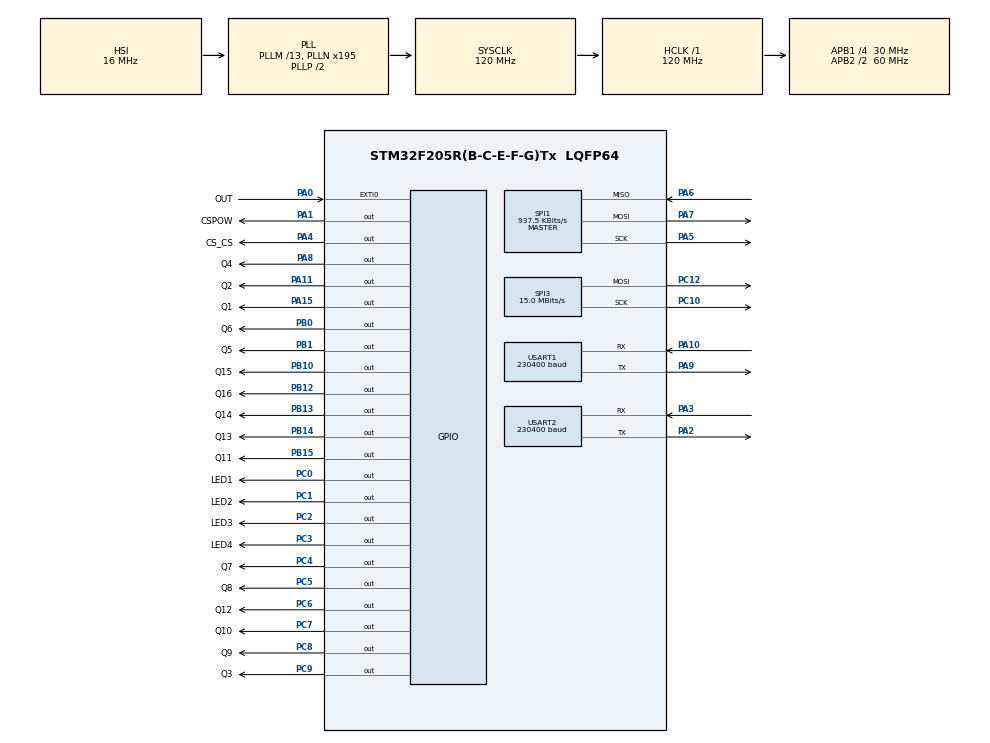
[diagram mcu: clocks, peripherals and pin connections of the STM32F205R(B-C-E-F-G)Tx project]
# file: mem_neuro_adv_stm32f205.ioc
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Mcu.Family=STM32F2
PB10.PinState=GPIO_PIN_SET
PA6.Mode=Full_Duplex_Master
PH0-OSC_IN.Signal=RCC_OSC_IN
RCC.CortexFreq_Value=120000000
SPI3.Direction=SPI_DIRECTION_2LINES
SPI3.VirtualType=VM_MASTER
SPI1.VirtualType=VM_MASTER
USART1.BaudRate=230400
PC10.Signal=SPI3_SCK
PC12.Signal=SPI3_MOSI
PB14.GPIO_Label=Q13
PC6.GPIO_Label=Q12
PC0.GPIO_Label=LED1
VP_RTC_VS_RTC_Activate.Mode=RTC_Enabled
PB0.GPIO_Label=Q6
PB13.GPIO_Label=Q14
PB13.Signal=GPIO_Output
PB15.Signal=GPIO_Output
PB15.PinState=GPIO_PIN_SET
RCC.SYSCLKSource=RCC_SYSCLKSOURCE_PLLCLK
ProjectManager.StackSize=0x400
PC8.PinState=GPIO_PIN_SET
PA15.GPIO_Label=Q1
TIM1.Prescaler=120
PB0.PinState=GPIO_PIN_SET
SPI1.Direction=SPI_DIRECTION_2LINES
RCC.HCLKFreq_Value=120000000
RCC.APB2TimFreq_Value=120000000
PC7.Signal=GPIO_Output
PB12.PinState=GPIO_PIN_SET
SPI1.CalculateBaudRate=937.5 KBits/s
PC3.Signal=GPIO_Output
RCC.AHBFreq_Value=120000000
PH0-OSC_IN.Mode=HSE-External-Oscillator
RCC.HSE_VALUE=16000000
NVIC.TIM8_TRG_COM_TIM14_IRQn=true\:0\:0\:false\:false\:true\:false\:true
PB12.GPIO_Label=Q16
PA6.GPIO_PuPd=GPIO_PULLUP
PC4.GPIO_Label=Q7
PA14.Mode=Serial_Wire
PB1.GPIO_Label=Q5
PC7.PinState=GPIO_PIN_SET
PA8.Signal=GPIO_Output
VP_SYS_VS_tim14.Mode=TIM14
VP_TIM1_VS_ClockSourceINT.Mode=Internal
PB1.PinState=GPIO_PIN_SET
PH1-OSC_OUT.Mode=HSE-External-Oscillator
Mcu.Package=LQFP64
PB1.Signal=GPIO_Output
PA6.Signal=SPI1_MISO
NVIC.TimeBase=TIM8_TRG_COM_TIM14_IRQn
SPI3.Mode=SPI_MODE_MASTER
USART2.VirtualMode=VM_ASYNC
NVIC.TimeBaseIP=TIM14
PA10.Signal=USART1_RX
VP_RTC_VS_RTC_Calendar.Mode=RTC_Calendar
PA15.Signal=GPIO_Output
PA1.PinState=GPIO_PIN_SET
RCC.APB2CLKDivider=RCC_HCLK_DIV2
RCC.APB1TimFreq_Value=60000000
PC5.Signal=GPIO_Output
TIM1.Period=100
NVIC.USART1_IRQn=true\:0\:0\:false\:false\:true\:true\:true
SPI1.BaudRatePrescaler=SPI_BAUDRATEPRESCALER_64
PA4.GPIO_Label=CS_CS
PC2.GPIO_Label=LED3
PA8.PinState=GPIO_PIN_SET
PA3.Signal=USART2_RX
PA5.Mode=Full_Duplex_Master
RCC.VDD_VALUE=2.5
PA7.Mode=Full_Duplex_Master
PA10.Mode=Asynchronous
PC4.PinState=GPIO_PIN_SET
PC9.GPIO_Label=Q3
PC8.Signal=GPIO_Output
PC2.Signal=GPIO_Output
PC4.Signal=GPIO_Output
PC6.Signal=GPIO_Output
PC10.Mode=TX_Only_Simplex_Unidirect_Master
PC9.PinState=GPIO_PIN_SET
PA11.GPIO_Label=Q2
PC0.Signal=GPIO_Output
RCC.APB1CLKDivider=RCC_HCLK_DIV4
USART2.BaudRate=230400
PA0-WKUP.GPIO_Label=OUT
PA0-WKUP.Signal=GPXTI0
PC8.GPIO_Label=Q9
PA3.Mode=Asynchronous
PA13.Signal=SYS_JTMS-SWDIO
TIM1.AutoReloadPreload=TIM_AUTORELOAD_PRELOAD_ENABLE
PA9.Mode=Asynchronous
PA8.GPIO_Label=Q4
PB14.PinState=GPIO_PIN_SET
PA4.PinState=GPIO_PIN_SET
ProjectManager.TargetToolchain=STM32CubeIDE
PB10.GPIO_Label=Q15
PA9.Signal=USART1_TX
RTC.Format=RTC_FORMAT_BIN
RCC.LSE_VALUE=32768
PA1.Signal=GPIO_Output
PB10.Signal=GPIO_Output
PC6.PinState=GPIO_PIN_SET
PB14.Signal=GPIO_Output
PA5.Signal=SPI1_SCK
PC12.Mode=TX_Only_Simplex_Unidirect_Master
board=custom
RCC.VCOOutputFreq_Value=240000000
PA15.PinState=GPIO_PIN_SET
RCC.APB2Freq_Value=60000000
SPI3.CalculateBaudRate=15.0 MBits/s
PB13.PinState=GPIO_PIN_SET
USART1.Mode=MODE_RX
PB15.GPIO_Label=Q11
SPI1.Mode=SPI_MODE_MASTER
PC1.GPIO_Label=LED2
PA1.GPIO_Label=CSPOW
PH1-OSC_OUT.Signal=RCC_OSC_OUT
PA13.Mode=Serial_Wire
Mcu.Name=STM32F205R(B-C-E-F-G)Tx
PA2.Signal=USART2_TX
PC7.GPIO_Label=Q10
RCC.48MHZClocksFreq_Value=60000000
NVIC.EXTI0_IRQn=true\:0\:0\:false\:false\:true\:true\:true
PA4.Signal=GPIO_Output
RCC.SYSCLKFreq_VALUE=120000000
PC5.PinState=GPIO_PIN_SET
PC5.GPIO_Label=Q8
USART1.VirtualMode=VM_ASYNC
PA11.Signal=GPIO_Output
PA14.Signal=SYS_JTCK-SWCLK
ProjectManager.HeapSize=0x200
NVIC.TIM1_UP_TIM10_IRQn=true\:0\:0\:false\:false\:true\:true\:true
RCC.HSI_VALUE=16000000
NVIC.PriorityGroup=NVIC_PRIORITYGROUP_4
RCC.PLLM=13
RCC.PLLN=195
PA2.Mode=Asynchronous
PC3.GPIO_Label=LED4
PC9.Signal=GPIO_Output
PA11.PinState=GPIO_PIN_SET
RCC.APB1Freq_Value=30000000
USART2.Mode=MODE_TX
PB0.Signal=GPIO_Output
PC1.Signal=GPIO_Output
PB12.Signal=GPIO_Output
PA7.Signal=SPI1_MOSI

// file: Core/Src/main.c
/* USER CODE BEGIN Header */
/**
  ******************************************************************************
  * @file           : main.c
  * @brief          : Main program body
  ******************************************************************************
  * @attention
  *
  * <h2><center>&copy; Copyright (c) 2021 STMicroelectronics.
  * All rights reserved.</center></h2>
  *
  * This software component is licensed by ST under BSD 3-Clause license,
  * the "License"; You may not use this file except in compliance with the
  * License. You may obtain a copy of the License at:
  *                        opensource.org/licenses/BSD-3-Clause
  *
  ******************************************************************************
  */
/* USER CODE END Header */
#include "main.h"

/* USER CODE BEGIN Includes */
#include <time.h>
#include <string.h>
/* USER CODE END Includes */

RTC_HandleTypeDef hrtc;

SPI_HandleTypeDef hspi1;
SPI_HandleTypeDef hspi3;

TIM_HandleTypeDef htim1;

UART_HandleTypeDef huart1;
UART_HandleTypeDef huart2;

/* USER CODE BEGIN PV */
uint8_t flags=0;
//total boards in chain
uint8_t board_cnt=3;
//current board number
uint8_t board_num=1;
//last spike time
int32_t last_spike=0;
//width of spike storage
uint8_t spike_wid=0;
uint8_t spike_wid_rst=0;
//if channel is excitatory
//bitwise info - all channels are excitatory
uint8_t ex_channels = 0x1F;
//GPIO info for each channel;
//signal level is Apin-Bpin
uint16_t Apin[8]={Q2_Pin,Q4_Pin,Q6_Pin,Q8_Pin,Q10_Pin,Q12_Pin,Q14_Pin,Q16_Pin};
uint16_t Bpin[8]={Q1_Pin,Q3_Pin,Q5_Pin,Q7_Pin,Q9_Pin,Q11_Pin,Q13_Pin,Q15_Pin};
GPIO_TypeDef* Aport[8]={Q2_GPIO_Port,Q4_GPIO_Port,Q6_GPIO_Port,Q8_GPIO_Port,Q10_GPIO_Port,Q12_GPIO_Port,Q14_GPIO_Port,Q16_GPIO_Port};
GPIO_TypeDef* Bport[8]={Q1_GPIO_Port,Q3_GPIO_Port,Q5_GPIO_Port,Q7_GPIO_Port,Q9_GPIO_Port,Q11_GPIO_Port,Q13_GPIO_Port,Q15_GPIO_Port};
//weight collection
int32_t last_spike_time[8]={0,0,0,0,0,0,0,0};
uint16_t weights[8]={100,200,400,400,500,700,800,900};
/* USER CODE END PV */

void SystemClock_Config(void);
static void MX_GPIO_Init(void);
static void MX_RTC_Init(void);
static void MX_SPI1_Init(void);
static void MX_USART1_UART_Init(void);
static void MX_USART2_UART_Init(void);
static void MX_SPI3_Init(void);
static void MX_TIM1_Init(void);
/* USER CODE BEGIN PFP */
void HAL_GPIO_EXTI_Callback(uint16_t GPIO_Pin)
{
  if(GPIO_Pin== GPIO_PIN_0) {
	  SET_BITN(flags,0);
  }
}
void HAL_UART_RxCpltCallback(UART_HandleTypeDef *huart){
	SET_BITN(flags,2);
}
void set_cmd(uint8_t num,uint8_t cmd,uint16_t val){
	uint8_t cs_data[1];
	cs_data[0]=~(1<<num);

	uint8_t res_data_rx[2];
	uint8_t res_data_tx[2];

	//read datasheet carefully
	//00 0001 00000 00000
	//0000 0100 0000 0000
	res_data_tx[0]=(cmd<<2)|(val>>8);
	res_data_tx[1]=val&0XFF;

	HAL_GPIO_WritePin(CS_CS_GPIO_Port, CS_CS_Pin, GPIO_PIN_RESET);
	HAL_SPI_Transmit(&hspi3, cs_data, 1, 1000);
	HAL_GPIO_WritePin(CS_CS_GPIO_Port, CS_CS_Pin, GPIO_PIN_SET);

	HAL_SPI_TransmitReceive(&hspi1, res_data_tx,res_data_rx, 2, 1000);

	cs_data[0]=0xFF;
	HAL_GPIO_WritePin(CS_CS_GPIO_Port, CS_CS_Pin, GPIO_PIN_RESET);
	HAL_SPI_Transmit(&hspi3, cs_data, 1, 1000);
	HAL_GPIO_WritePin(CS_CS_GPIO_Port, CS_CS_Pin, GPIO_PIN_SET);
}
void set_res(uint8_t num,uint16_t val){
	set_cmd(num,1,val);
}
void Hebb_weight_update(uint8_t last_spiked){
	//do some wired math
	//TODO:remake weight
	//use last spike times to do some magic
	uint8_t i=0;
	for(i=0;i<8;i++){
		if (weights[i]>0x03FF){
			weights[i]=0x03FF;
		}
	}
	uint8_t ls_tmp=last_spiked;
	uint8_t cs_data[1];
	uint8_t res_data_tx[2];
	uint8_t res_data_rx[2];
	cs_data[0]=~1;
	while(ls_tmp>0){
		//if this input spiked
		if((ls_tmp&0x01)==1){
			//CS for resistor
			HAL_GPIO_WritePin(CS_CS_GPIO_Port, CS_CS_Pin, GPIO_PIN_RESET);
			HAL_SPI_Transmit(&hspi3, cs_data, 1, 1000);
			HAL_GPIO_WritePin(CS_CS_GPIO_Port, CS_CS_Pin, GPIO_PIN_SET);

			//read datasheet carefully
			//0000 0101 0000 0000
			res_data_tx[0]=0x04|(weights[i]>>8);
			res_data_tx[1]=weights[i]&0xFF;
			HAL_SPI_TransmitReceive(&hspi1, res_data_tx,res_data_rx, 2, 1000);

			cs_data[0]=0xFF;
			HAL_GPIO_WritePin(CS_CS_GPIO_Port, CS_CS_Pin, GPIO_PIN_RESET);
			HAL_SPI_Transmit(&hspi3, cs_data, 1, 1000);
			HAL_GPIO_WritePin(CS_CS_GPIO_Port, CS_CS_Pin, GPIO_PIN_SET);
		}
		else{
			last_spike_time[i]+=last_spike;
			//no need for big times since hebb will be zero anyways
			if(last_spike_time[i]>10000){
				last_spike_time[i]=10000;
			}
		}
		cs_data[0]=~(1<<i);
		ls_tmp>>=1;
		i++;
	}

}
/* USER CODE END PFP */

int main(void)
{

  /* MCU Configuration--------------------------------------------------------*/

  /* Reset of all peripherals, Initializes the Flash interface and the Systick. */
  HAL_Init();

  /* Configure the system clock */
  SystemClock_Config();

  /* Initialize all configured peripherals */
  MX_GPIO_Init();
  MX_RTC_Init();
  MX_SPI1_Init();
  MX_USART1_UART_Init();
  MX_USART2_UART_Init();
  MX_SPI3_Init();
  MX_TIM1_Init();
  /* USER CODE BEGIN 2 */
  HAL_Delay(1000);
  /* USER CODE END 2 */

  /* Infinite loop */
  /* USER CODE BEGIN WHILE */

  //enable O1 and O2
  //0011 0001 0000 0000 0000 0000
  uint8_t data1[3]={0x31,0x00,0x03};
  uint8_t data2[3];
//  HAL_GPIO_WritePin(CSPOW_GPIO_Port, CSPOW_Pin, GPIO_PIN_RESET);
//  HAL_SPI_TransmitReceive(&hspi1, data1,data2, 3, 1000);
//  HAL_GPIO_WritePin(CSPOW_GPIO_Port, CSPOW_Pin, GPIO_PIN_SET);
//  HAL_Delay(1);

  //set trigger level once, never touch again and change mode for weight update
  data1[0]=0xB0;
  data1[1]=0x01;
  data1[2]=0xA0;
  HAL_GPIO_WritePin(CSPOW_GPIO_Port, CSPOW_Pin, GPIO_PIN_RESET);
  HAL_SPI_TransmitReceive(&hspi1, data1,data2, 3, 1000);
  HAL_GPIO_WritePin(CSPOW_GPIO_Port, CSPOW_Pin, GPIO_PIN_SET);
  //change mode for resistor
  hspi1.Init.CLKPhase = SPI_PHASE_2EDGE;
  if (HAL_SPI_Init(&hspi1) != HAL_OK){
	  Error_Handler();
  }
  uint8_t i=0;
  for(i=0;i<8;i++){
	  set_cmd(i, 7, 2);
	  set_res(i,weights[i]);
  }
  HAL_GPIO_WritePin(GPIOC, LED1_Pin|LED2_Pin|LED3_Pin|LED4_Pin, GPIO_PIN_RESET);

  HAL_TIM_Base_Start_IT(&htim1);
  uint8_t rx_data[board_cnt];
  uint8_t tx_data[board_cnt];
  uint8_t data_tmp=0;
  uint8_t ext_info_tmp=0;
  for(i=0;i<board_cnt;i++){
	  tx_data[i]=0;
	  rx_data[i]=0;
  }
//  if (board_num==0){
//	  tx_data[0]=0x55;
//	  tx_data[1]=0xAA;
//	  tx_data[2]=0xF5;
//  	  HAL_UART_Transmit_DMA(&huart2, tx_data, board_cnt);
//  }
  uint16_t delay=201;
  HAL_StatusTypeDef status;
  while (1)
  {
//	  HAL_GPIO_TogglePin(GPIOC, LED1_Pin);
	  status=HAL_UART_Receive(&huart1,  rx_data, board_cnt,100000);

	  //UART msg received
	  if(status!=HAL_TIMEOUT){
		  HAL_GPIO_TogglePin(GPIOC, LED4_Pin);
		  data_tmp=rx_data[board_num];
		  //copy info about input types
		  ext_info_tmp=ex_channels;
		  i=0;
		  while(data_tmp>0){
			  if((data_tmp&0x01)==1){
				  if((ext_info_tmp&0x01)==1){
					  //if is exitatory pull down b port
					  HAL_GPIO_WritePin(Bport[i], Bpin[i], GPIO_PIN_RESET);
				  }
				  else{
					  //if is inhibitory pull down a port
					  HAL_GPIO_WritePin(Aport[i], Apin[i], GPIO_PIN_RESET);
				  }
				  spike_wid=0;
				  spike_wid_rst=1;
			  }
			  i++;
			  ext_info_tmp>>=1;
			  data_tmp>>=1;
		  }

		  while(spike_wid<30){}
		  for(i=0;i<8;i++){
			  HAL_GPIO_WritePin(Aport[i], Apin[i], GPIO_PIN_SET);
		  	  HAL_GPIO_WritePin(Bport[i], Bpin[i], GPIO_PIN_SET);
		  }
		  //output signal generated
		  if(READ_BITN(flags,0)==1){
			  RESET_BITN(flags,0);
			  HAL_GPIO_TogglePin(GPIOC, LED2_Pin);
			  //need to update weight according to wired math and what spiked last time
			  //Hebb_weight_update(rx_data[board_num]);
			  tx_data[0]=rx_data[1]^0x1B;
			  tx_data[1]=0;
			  tx_data[2]=rx_data[2];
			  i=0;
			  data_tmp=rx_data[board_num];
			  while(data_tmp>0){
				  if((data_tmp&0x01)==1){
					  if(weights[i]>5){
						  weights[i]-=5;
					  }
					  set_res(i,weights[i]);
				  }
				  i++;
				  data_tmp>>=1;
			  }
//			  for(i=0;i<5;i++){
//				  weights[i]+=100;
////				  weights[i]+=i;
//				  if (weights[i]>1023){
//					  weights[i]=1023;
//				  }
//				  set_res(i,weights[i]);
//			  }
//			  if (delay>100){
//				  delay-=100;
//			  }
			  //change last spike time to negative value for emulating refactory period
			  last_spike=-100;
			  if (delay>10){
				  delay-=10;
			  }
		  }
		  else{
			  tx_data[0]=rx_data[1]^0x1B;
			  tx_data[1]=0;
			  tx_data[2]=rx_data[2];
			  if (delay<10000){
				  delay+=10;
			  }
		  }
		  HAL_Delay(delay);
		  HAL_UART_Transmit(&huart2, tx_data, board_cnt,1000);
		  for(i=0;i<board_cnt;i++){
		  	  tx_data[i]=0;
		  	  rx_data[i]=0;
		  }
	  }
    /* USER CODE END WHILE */

  }
}

void SystemClock_Config(void)
{
  RCC_OscInitTypeDef RCC_OscInitStruct = {0};
  RCC_ClkInitTypeDef RCC_ClkInitStruct = {0};
  RCC_PeriphCLKInitTypeDef PeriphClkInitStruct = {0};

  /** Initializes the RCC Oscillators according to the specified parameters
  * in the RCC_OscInitTypeDef structure.
  */
  RCC_OscInitStruct.OscillatorType = RCC_OSCILLATORTYPE_HSI|RCC_OSCILLATORTYPE_LSI;
  RCC_OscInitStruct.HSIState = RCC_HSI_ON;
  RCC_OscInitStruct.HSICalibrationValue = RCC_HSICALIBRATION_DEFAULT;
  RCC_OscInitStruct.LSIState = RCC_LSI_ON;
  RCC_OscInitStruct.PLL.PLLState = RCC_PLL_ON;
  RCC_OscInitStruct.PLL.PLLSource = RCC_PLLSOURCE_HSI;
  RCC_OscInitStruct.PLL.PLLM = 13;
  RCC_OscInitStruct.PLL.PLLN = 195;
  RCC_OscInitStruct.PLL.PLLP = RCC_PLLP_DIV2;
  RCC_OscInitStruct.PLL.PLLQ = 4;
  if (HAL_RCC_OscConfig(&RCC_OscInitStruct) != HAL_OK)
  {
    Error_Handler();
  }
  /** Initializes the CPU, AHB and APB buses clocks
  */
  RCC_ClkInitStruct.ClockType = RCC_CLOCKTYPE_HCLK|RCC_CLOCKTYPE_SYSCLK
                              |RCC_CLOCKTYPE_PCLK1|RCC_CLOCKTYPE_PCLK2;
  RCC_ClkInitStruct.SYSCLKSource = RCC_SYSCLKSOURCE_PLLCLK;
  RCC_ClkInitStruct.AHBCLKDivider = RCC_SYSCLK_DIV1;
  RCC_ClkInitStruct.APB1CLKDivider = RCC_HCLK_DIV4;
  RCC_ClkInitStruct.APB2CLKDivider = RCC_HCLK_DIV2;

  if (HAL_RCC_ClockConfig(&RCC_ClkInitStruct, FLASH_LATENCY_4) != HAL_OK)
  {
    Error_Handler();
  }
  PeriphClkInitStruct.PeriphClockSelection = RCC_PERIPHCLK_RTC;
  PeriphClkInitStruct.RTCClockSelection = RCC_RTCCLKSOURCE_LSI;
  if (HAL_RCCEx_PeriphCLKConfig(&PeriphClkInitStruct) != HAL_OK)
  {
    Error_Handler();
  }
}

static void MX_RTC_Init(void)
{

  RTC_TimeTypeDef sTime = {0};
  RTC_DateTypeDef sDate = {0};

  /** Initialize RTC Only
  */
  hrtc.Instance = RTC;
  hrtc.Init.HourFormat = RTC_HOURFORMAT_24;
  hrtc.Init.AsynchPrediv = 127;
  hrtc.Init.SynchPrediv = 255;
  hrtc.Init.OutPut = RTC_OUTPUT_DISABLE;
  hrtc.Init.OutPutPolarity = RTC_OUTPUT_POLARITY_HIGH;
  hrtc.Init.OutPutType = RTC_OUTPUT_TYPE_OPENDRAIN;
  if (HAL_RTC_Init(&hrtc) != HAL_OK)
  {
    Error_Handler();
  }

  /** Initialize RTC and set the Time and Date
  */
  sTime.Hours = 0;
  sTime.Minutes = 0;
  sTime.Seconds = 0;
  sTime.DayLightSaving = RTC_DAYLIGHTSAVING_NONE;
  sTime.StoreOperation = RTC_STOREOPERATION_RESET;
  if (HAL_RTC_SetTime(&hrtc, &sTime, RTC_FORMAT_BIN) != HAL_OK)
  {
    Error_Handler();
  }
  sDate.WeekDay = RTC_WEEKDAY_MONDAY;
  sDate.Month = RTC_MONTH_JANUARY;
  sDate.Date = 1;
  sDate.Year = 0;

  if (HAL_RTC_SetDate(&hrtc, &sDate, RTC_FORMAT_BIN) != HAL_OK)
  {
    Error_Handler();
  }

}

static void MX_SPI1_Init(void)
{

  /* SPI1 parameter configuration*/
  hspi1.Instance = SPI1;
  hspi1.Init.Mode = SPI_MODE_MASTER;
  hspi1.Init.Direction = SPI_DIRECTION_2LINES;
  hspi1.Init.DataSize = SPI_DATASIZE_8BIT;
  hspi1.Init.CLKPolarity = SPI_POLARITY_LOW;
  hspi1.Init.CLKPhase = SPI_PHASE_1EDGE;
  hspi1.Init.NSS = SPI_NSS_SOFT;
  hspi1.Init.BaudRatePrescaler = SPI_BAUDRATEPRESCALER_64;
  hspi1.Init.FirstBit = SPI_FIRSTBIT_MSB;
  hspi1.Init.TIMode = SPI_TIMODE_DISABLE;
  hspi1.Init.CRCCalculation = SPI_CRCCALCULATION_DISABLE;
  hspi1.Init.CRCPolynomial = 10;
  if (HAL_SPI_Init(&hspi1) != HAL_OK)
  {
    Error_Handler();
  }

}

static void MX_SPI3_Init(void)
{

  /* SPI3 parameter configuration*/
  hspi3.Instance = SPI3;
  hspi3.Init.Mode = SPI_MODE_MASTER;
  hspi3.Init.Direction = SPI_DIRECTION_2LINES;
  hspi3.Init.DataSize = SPI_DATASIZE_8BIT;
  hspi3.Init.CLKPolarity = SPI_POLARITY_LOW;
  hspi3.Init.CLKPhase = SPI_PHASE_1EDGE;
  hspi3.Init.NSS = SPI_NSS_SOFT;
  hspi3.Init.BaudRatePrescaler = SPI_BAUDRATEPRESCALER_2;
  hspi3.Init.FirstBit = SPI_FIRSTBIT_MSB;
  hspi3.Init.TIMode = SPI_TIMODE_DISABLE;
  hspi3.Init.CRCCalculation = SPI_CRCCALCULATION_DISABLE;
  hspi3.Init.CRCPolynomial = 10;
  if (HAL_SPI_Init(&hspi3) != HAL_OK)
  {
    Error_Handler();
  }

}

static void MX_TIM1_Init(void)
{

  TIM_ClockConfigTypeDef sClockSourceConfig = {0};
  TIM_MasterConfigTypeDef sMasterConfig = {0};

  htim1.Instance = TIM1;
  htim1.Init.Prescaler = 120;
  htim1.Init.CounterMode = TIM_COUNTERMODE_UP;
  htim1.Init.Period = 100;
  htim1.Init.ClockDivision = TIM_CLOCKDIVISION_DIV1;
  htim1.Init.RepetitionCounter = 0;
  htim1.Init.AutoReloadPreload = TIM_AUTORELOAD_PRELOAD_ENABLE;
  if (HAL_TIM_Base_Init(&htim1) != HAL_OK)
  {
    Error_Handler();
  }
  sClockSourceConfig.ClockSource = TIM_CLOCKSOURCE_INTERNAL;
  if (HAL_TIM_ConfigClockSource(&htim1, &sClockSourceConfig) != HAL_OK)
  {
    Error_Handler();
  }
  sMasterConfig.MasterOutputTrigger = TIM_TRGO_RESET;
  sMasterConfig.MasterSlaveMode = TIM_MASTERSLAVEMODE_DISABLE;
  if (HAL_TIMEx_MasterConfigSynchronization(&htim1, &sMasterConfig) != HAL_OK)
  {
    Error_Handler();
  }

}

static void MX_USART1_UART_Init(void)
{

  huart1.Instance = USART1;
  huart1.Init.BaudRate = 230400;
  huart1.Init.WordLength = UART_WORDLENGTH_8B;
  huart1.Init.StopBits = UART_STOPBITS_1;
  huart1.Init.Parity = UART_PARITY_NONE;
  huart1.Init.Mode = UART_MODE_RX;
  huart1.Init.HwFlowCtl = UART_HWCONTROL_NONE;
  huart1.Init.OverSampling = UART_OVERSAMPLING_16;
  if (HAL_UART_Init(&huart1) != HAL_OK)
  {
    Error_Handler();
  }

}

static void MX_USART2_UART_Init(void)
{

  huart2.Instance = USART2;
  huart2.Init.BaudRate = 230400;
  huart2.Init.WordLength = UART_WORDLENGTH_8B;
  huart2.Init.StopBits = UART_STOPBITS_1;
  huart2.Init.Parity = UART_PARITY_NONE;
  huart2.Init.Mode = UART_MODE_TX;
  huart2.Init.HwFlowCtl = UART_HWCONTROL_NONE;
  huart2.Init.OverSampling = UART_OVERSAMPLING_16;
  if (HAL_UART_Init(&huart2) != HAL_OK)
  {
    Error_Handler();
  }

}

static void MX_GPIO_Init(void)
{
  GPIO_InitTypeDef GPIO_InitStruct = {0};

  /* GPIO Ports Clock Enable */
  __HAL_RCC_GPIOH_CLK_ENABLE();
  __HAL_RCC_GPIOC_CLK_ENABLE();
  __HAL_RCC_GPIOA_CLK_ENABLE();
  __HAL_RCC_GPIOB_CLK_ENABLE();

  /*Configure GPIO pin Output Level */
  HAL_GPIO_WritePin(GPIOC, LED1_Pin|LED2_Pin|LED3_Pin|LED4_Pin, GPIO_PIN_RESET);

  /*Configure GPIO pin Output Level */
  HAL_GPIO_WritePin(GPIOA, CSPOW_Pin|CS_CS_Pin|Q4_Pin|Q2_Pin
                          |Q1_Pin, GPIO_PIN_SET);

  /*Configure GPIO pin Output Level */
  HAL_GPIO_WritePin(GPIOC, Q7_Pin|Q8_Pin|Q12_Pin|Q10_Pin
                          |Q9_Pin|Q3_Pin, GPIO_PIN_SET);

  /*Configure GPIO pin Output Level */
  HAL_GPIO_WritePin(GPIOB, Q6_Pin|Q5_Pin|Q15_Pin|Q16_Pin
                          |Q14_Pin|Q13_Pin|Q11_Pin, GPIO_PIN_SET);

  /*Configure GPIO pins : LED1_Pin LED2_Pin LED3_Pin LED4_Pin
                           Q7_Pin Q8_Pin Q12_Pin Q10_Pin
                           Q9_Pin Q3_Pin */
  GPIO_InitStruct.Pin = LED1_Pin|LED2_Pin|LED3_Pin|LED4_Pin
                          |Q7_Pin|Q8_Pin|Q12_Pin|Q10_Pin
                          |Q9_Pin|Q3_Pin;
  GPIO_InitStruct.Mode = GPIO_MODE_OUTPUT_PP;
  GPIO_InitStruct.Pull = GPIO_NOPULL;
  GPIO_InitStruct.Speed = GPIO_SPEED_FREQ_LOW;
  HAL_GPIO_Init(GPIOC, &GPIO_InitStruct);

  /*Configure GPIO pin : OUT_Pin */
  GPIO_InitStruct.Pin = OUT_Pin;
  GPIO_InitStruct.Mode = GPIO_MODE_IT_RISING;
  GPIO_InitStruct.Pull = GPIO_NOPULL;
  HAL_GPIO_Init(OUT_GPIO_Port, &GPIO_InitStruct);

  /*Configure GPIO pins : CSPOW_Pin CS_CS_Pin Q4_Pin Q2_Pin
                           Q1_Pin */
  GPIO_InitStruct.Pin = CSPOW_Pin|CS_CS_Pin|Q4_Pin|Q2_Pin
                          |Q1_Pin;
  GPIO_InitStruct.Mode = GPIO_MODE_OUTPUT_PP;
  GPIO_InitStruct.Pull = GPIO_NOPULL;
  GPIO_InitStruct.Speed = GPIO_SPEED_FREQ_LOW;
  HAL_GPIO_Init(GPIOA, &GPIO_InitStruct);

  /*Configure GPIO pins : Q6_Pin Q5_Pin Q15_Pin Q16_Pin
                           Q14_Pin Q13_Pin Q11_Pin */
  GPIO_InitStruct.Pin = Q6_Pin|Q5_Pin|Q15_Pin|Q16_Pin
                          |Q14_Pin|Q13_Pin|Q11_Pin;
  GPIO_InitStruct.Mode = GPIO_MODE_OUTPUT_PP;
  GPIO_InitStruct.Pull = GPIO_NOPULL;
  GPIO_InitStruct.Speed = GPIO_SPEED_FREQ_LOW;
  HAL_GPIO_Init(GPIOB, &GPIO_InitStruct);

  /* EXTI interrupt init*/
  HAL_NVIC_SetPriority(EXTI0_IRQn, 0, 0);
  HAL_NVIC_EnableIRQ(EXTI0_IRQn);

}

 /**
  * @brief  Period elapsed callback in non blocking mode
  * @note   This function is called  when TIM14 interrupt took place, inside
  * HAL_TIM_IRQHandler(). It makes a direct call to HAL_IncTick() to increment
  * a global variable "uwTick" used as application time base.
  * @param  htim : TIM handle
  * @retval None
  */
void HAL_TIM_PeriodElapsedCallback(TIM_HandleTypeDef *htim)
{
  if (htim->Instance == TIM14) {
    HAL_IncTick();
  }
  /* USER CODE BEGIN Callback 1 */
  else if (htim->Instance == TIM1) {
	  SET_BITN(flags,1);
	  last_spike+=1;
	  spike_wid+=1;
	  if(spike_wid_rst==1){
		  spike_wid_rst=0;
		  spike_wid=0;
	  }
    }
  /* USER CODE END Callback 1 */
}

void Error_Handler(void)
{
  __disable_irq();
  while (1)
  {
  }
}

/************************ (C) COPYRIGHT STMicroelectronics *****END OF FILE****/
